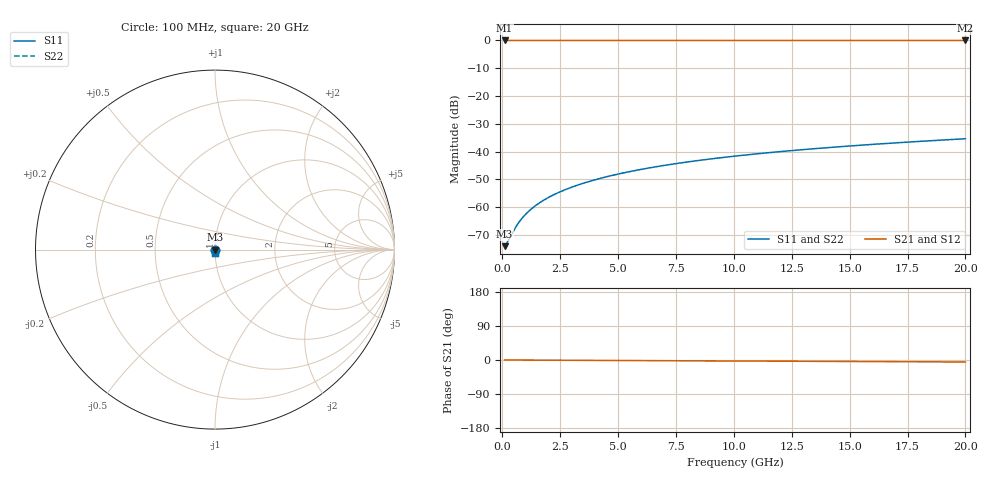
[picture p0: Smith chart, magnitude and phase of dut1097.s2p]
! Touchstone file exported from HFSS 2026.1.0
!  File:  C:/ffzhzh/LocalFiles/Ansys_Project_Files/temp_train_TSV_1097_1783190447_18472.aedt
!  Generated:  02:42:07 AM Jul  5, 2026
!  Design:  TSV
!  Project:  temp_train_TSV_1097_1783190447_18472
! Variables:
!  h_bsmrdl = 2um
!  h_ox = 20um
!  h_rdl = 5um
!  h_sub = 52.94um
!  h_tmrdl = 5um
!  h_tsv = 52.94um
!  h_via = 3um
!  l_bsmrdl = 300um
!  l_sub = 412.66um
!  l_tmrdl = 200um
!  m_sub = 200um
!  pitch = 21.31um
!  r_tsv = 6.33um
!  s_tmrdl = 10um
!  w_bsmrdl = 18um
!  w_sub = 500um
!  w_tmrdl = 12um
!  x_tsv_center1 = 206um
!  x_tsv_center2 = 524um
!  x_tsv_center3 = 736um
!  x_tsv_center4 = 1054um
!  x_tsv_center5 = 1266um
!  x_tsv_center6 = 1584um
# GHz S MA R 50.000000
! Terminal data exported
! Port[1] = TSV1_1_T1
! Port[2] = TSV1_1_T2
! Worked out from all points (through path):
!   200 points, 100 MHz to 20 GHz, reference 50 ohm
!   highest |S21| = 0.00 dB at 100 MHz (marker M1); lowest = 0.0 dB at 20 GHz (marker M2)
!   lowest |S11| = -74.0 dB at 100 MHz (marker M3), VSWR 1.00, Z = 50 - j0.00398 ohm
!   |S11| at or under -10 dB: start of sweep to end of sweep
!   |S22| runs from -74.0 to -35.4 dB; largest |S21 - S12| = 3e-15
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0.1  0.0001989 -11.6  0.9998 -0.0  0.9998 -0.0  0.0001989 -11.6
! Gamma 0 0 0 0
! Port Impedance 50 0 50 0
0.2  0.0002273 -22.0  0.9998 -0.1  0.9998 -0.1  0.0002273 -22.0
0.5  0.0003863 -43.9  0.9997 -0.1  0.9997 -0.1  0.0003863 -43.9
0.7  0.0005221 -52.8  0.9997 -0.2  0.9997 -0.2  0.0005221 -52.8
0.8  0.0005935 -56.1  0.9997 -0.2  0.9997 -0.2  0.0005935 -56.1
1  0.0007401 -61.3  0.9996 -0.3  0.9996 -0.3  0.0007401 -61.3
1.3  0.0009648 -66.5  0.9996 -0.4  0.9996 -0.4  0.0009648 -66.5
1.5  0.001117 -69.0  0.9996 -0.4  0.9996 -0.4  0.001117 -69.0
1.7  0.00127 -70.9  0.9996 -0.5  0.9996 -0.5  0.00127 -70.9
2.2  0.001657 -74.3  0.9995 -0.6  0.9995 -0.6  0.001657 -74.3
2.8  0.002132 -76.7  0.9995 -0.7  0.9995 -0.7  0.002132 -76.7
3.5  0.002697 -78.6  0.9994 -0.9  0.9994 -0.9  0.002697 -78.6
4.2  0.003274 -79.9  0.9994 -1.1  0.9994 -1.1  0.003274 -79.9
5  0.003944 -81.1  0.9993 -1.3  0.9993 -1.3  0.003944 -81.1
5.9  0.004709 -82.1  0.9992 -1.6  0.9992 -1.6  0.004709 -82.1
6.8  0.005481 -83.1  0.9992 -1.8  0.9992 -1.8  0.005481 -83.1
8.3  0.006778 -84.4  0.9991 -2.2  0.9991 -2.2  0.006778 -84.4
10.1  0.008342 -85.7  0.999 -2.6  0.999 -2.6  0.008342 -85.7
11.7  0.009737 -86.7  0.9989 -3.1  0.9989 -3.1  0.009737 -86.7
13.4  0.01122 -87.6  0.9988 -3.5  0.9988 -3.5  0.01122 -87.6
16.7  0.01412 -89.1  0.9986 -4.4  0.9986 -4.4  0.01412 -89.1
20  0.01704 -90.4  0.9984 -5.2  0.9984 -5.2  0.01704 -90.4
